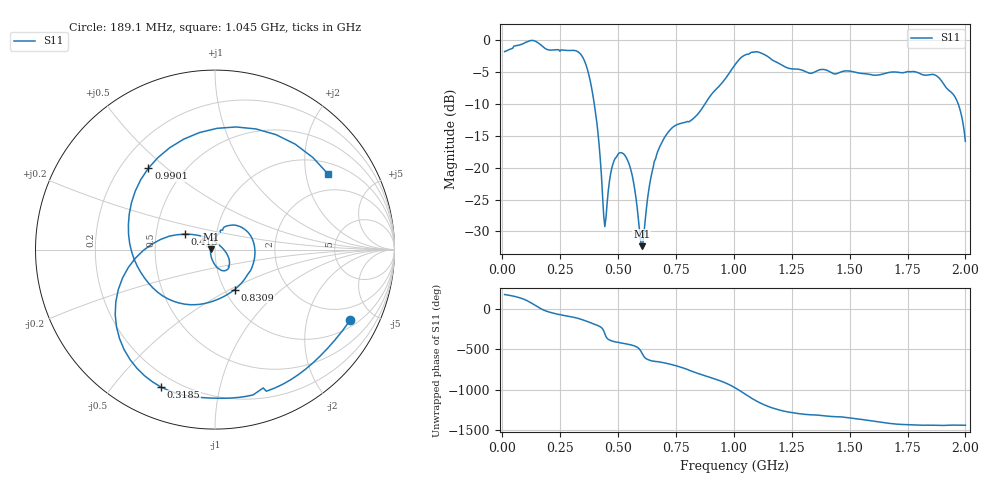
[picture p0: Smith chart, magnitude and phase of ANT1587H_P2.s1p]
!Created with skrf (http://scikit-rf.org).
# Hz S RI R 50.0
!freq ReS11 ImS11
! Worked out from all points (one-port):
!   401 points, 10 MHz to 2 GHz, reference 50 ohm
!   lowest |S11| = -32.3 dB at 602 MHz (marker M1), VSWR 1.05, Z = 47.6 + j0.0772 ohm
!   |S11| at or under -10 dB: 397 MHz to 875.6 MHz (478.5 MHz wide, 75.2 % of centre); 1.969 GHz to end of sweep
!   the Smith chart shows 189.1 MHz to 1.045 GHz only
!   S11 on the Smith chart (normalised r, x): 189.1 MHz: 1.30, -3.67; 318.4 MHz: 0.14, -0.67; 413 MHz: 0.70, +0.13; 830.9 MHz: 1.11, -0.53; 990.1 MHz: 0.31, +0.44; 1.045 GHz: 1.35, +2.67
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1e7  -0.81 0.0548
7.4675e7  -0.6666 0.6264
1.1945e8  0.1502 0.9759
1.54275e8  0.887 0.3442
1.891e8  0.7544 -0.3915
2.5875e8  0.1683 -0.8186
3.1845e8  -0.3018 -0.7652
3.63225e8  -0.5527 -0.2914
4.12975e8  -0.168 0.0863
4.42825e8  0.0214 0.0271
5.075e8  0.0682 -0.1115
5.5725e8  0.00564 -0.0928
6.02025e8  -0.0242 0.00081
6.667e8  0.0454 0.1181
7.5625e8  0.2129 0.0462
8.30875e8  0.1093 -0.2225
9.1545e8  -0.3195 -0.2375
9.90075e8  -0.371 0.4539
1.005e9  -0.1742 0.6153
1.0448e9  0.6288 0.4223
1.07465e9  0.7498 -0.2762
1.11445e9  0.0967 -0.7886
1.169175e9  -0.5735 -0.3863
1.25375e9  -0.5486 0.2268
1.5025e9  -0.0233 0.5696
1.75125e9  0.5587 0.0907
1.89055e9  0.4945 0.00532
2e9  0.1606 0.00891
